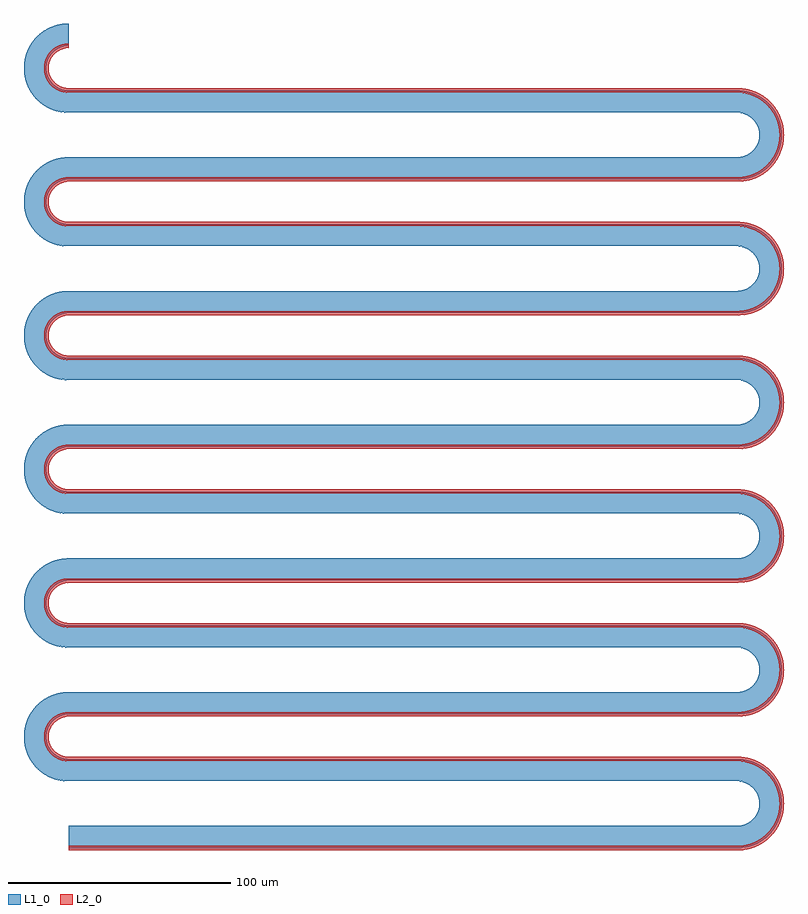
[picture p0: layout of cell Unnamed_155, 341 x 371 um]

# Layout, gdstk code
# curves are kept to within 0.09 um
import gdstk
lib = gdstk.Library(unit=1e-6, precision=1e-09)
def P(c, l, *ps):  # polygons
    for p in ps: c.add(gdstk.Polygon(p, *l))
L1_0 = (1, 0)
L2_0 = (2, 0)

unnamed_155 = lib.new_cell('Unnamed_155')
P(unnamed_155, L1_0, [(0,-5),(0,5),(300.754,5.028),(302.672,5.363),(304.572,6.106),(306.184,7.141),(307.569,8.464),(308.692,10.055),(309.505,11.892),(309.931,13.823),(309.973,15.738),(309.641,17.656),(309.013,19.333),(308.059,20.921),(306.851,22.285),(305.39,23.423),(303.714,24.285),(301.937,24.811),(300.22,24.998),(-0.126,25),(-3.007,25.227),(-6.485,26.08),(-9.534,27.418),(-12.368,29.282),(-14.804,31.552),(-16.864,34.247),(-18.463,37.31),(-19.497,40.541),(-19.97,43.9),(-19.876,47.228),(-19.178,50.676),(-17.915,53.892),(-16.08,56.893),(-13.884,59.396),(-11.252,61.535),(-8.238,63.225),(-5.04,64.355),(-2.634,64.826),(-0.126,65),(300.409,65.008),(302.428,65.299),(304.347,65.994),(306.06,67.045),(307.569,68.464),(308.738,70.137),(309.534,71.982),(309.945,73.948),(309.945,76.052),(309.607,77.778),(308.971,79.418),(308.059,80.921),(306.851,82.285),(305.469,83.372),(303.917,84.201),(302.184,84.759),(300.409,84.992),(-0.126,85),(-2.634,85.174),(-5.04,85.645),(-7.37,86.407),(-9.666,87.491),(315.62,87.491),(316.83,85.806),(317.859,84.004),(318.673,82.164),(319.331,80.131),(319.787,77.914),(319.985,75.786),(319.95,73.586),(319.718,71.651),(319.248,69.566),(318.511,67.426),(317.597,65.494),(316.482,63.671),(315.096,61.881),(313.564,60.302),(311.817,58.864),(310.082,57.727),(308.238,56.775),(306.246,56),(304.183,55.442),(302.009,55.101),(300.126,55),(-0.22,54.998),(-1.907,54.817),(-3.597,54.331),(-5.122,53.589),(-6.524,52.579),(-7.691,51.392),(-8.692,49.945),(-9.424,48.346),(-9.859,46.675),(-9.99,44.544),(-9.681,42.495),(-8.901,40.442),(-7.751,38.681),(-6.307,37.239),(-4.572,36.106),(-2.672,35.363),(-0.409,35.008),(300.126,35),(303.318,34.723),(306.485,33.92),(309.589,32.552),(312.417,30.679),(314.972,28.261),(316.998,25.54),(318.511,22.574),(319.538,19.275),(319.985,15.786),(319.822,12.335),(319.105,9.083),(317.859,5.996),(316.08,3.107),(313.884,0.604),(311.252,-1.535),(308.295,-3.199),(305.161,-4.323),(302.634,-4.826),(300.126,-5)],
  [(-9.666,87.491),(-12.368,89.282),(-14.634,91.367),(-16.553,93.774),(-18.133,96.562),(-19.248,99.566),(-19.854,102.584),(-19.993,105.535),(-19.663,108.659),(-18.889,111.574),(-17.597,114.506),(-16.005,116.994),(-13.884,119.396),(-11.562,121.32),(-8.807,122.957),(-5.947,124.096),(-3.007,124.773),(-0.126,125),(300.409,125.008),(302.367,125.284),(304.205,125.927),(305.806,126.858),(307.317,128.183),(308.499,129.73),(309.348,131.447),(309.859,133.325),(309.995,135.33),(309.776,137.107),(309.17,138.99),(308.259,140.639),(307.077,142.066),(305.574,143.303),(303.917,144.201),(302.184,144.759),(300.252,144.997),(-0.126,145),(-2.759,145.191),(-5.525,145.778),(-8.238,146.775),(-10.779,148.153),(-13,149.801),(-14.972,151.739),(-16.727,154.036),(-18.133,156.562),(-19.142,159.204),(-19.768,161.961),(-19.999,164.78),(-19.822,167.665),(-19.248,170.434),(-18.289,173.094),(-16.998,175.54),(-15.301,177.88),(-13.237,179.993),(313.221,179.993),(310.352,177.887),(307.252,176.361),(303.937,175.391),(300.314,175.002),(-0.094,175),(-2.276,174.738),(-4.033,174.151),(-5.521,173.338),(-6.851,172.285),(-8.059,170.921),(-9.013,169.333),(-9.607,167.778),(-9.945,166.052),(-9.973,164.262),(-9.697,162.556),(-9.08,160.809),(-8.223,159.309),(-7.077,157.934),(-5.704,156.786),(-4.205,155.927),(-2.459,155.307),(-0.754,155.028),(300.126,155),(302.634,154.826),(304.49,154.49),(306.485,153.92),(309.864,152.399),(311.562,151.32),(313.143,150.076),(315.737,147.343),(316.864,145.753),(317.859,144.004),(318.673,142.164),(319.248,140.434),(319.663,138.659),(319.931,136.665),(319.999,134.78),(319.876,132.772),(319.178,129.324),(317.915,126.108),(316.08,123.107),(313.884,120.604),(311.252,118.465),(308.238,116.775),(305.04,115.645),(301.759,115.077),(-0.409,114.992),(-2.367,114.716),(-4.205,114.073),(-5.806,113.142),(-7.317,111.817),(-8.499,110.27),(-9.348,108.553),(-9.859,106.675),(-9.996,104.701),(-9.776,102.893),(-9.195,101.068),(-8.364,99.518),(-7.209,98.069),(-5.781,96.84),(-4.205,95.927),(-2.428,95.299),(-0.534,95.014),(300.503,94.994),(302.634,94.826),(304.796,94.417),(306.84,93.794),(308.92,92.901),(310.885,91.779),(312.564,90.561),(314.242,89.042),(315.62,87.491)],
  [(-13.237,179.993),(-10.352,182.113),(-7.252,183.639),(-3.937,184.609),(-0.314,184.998),(300.094,185),(302.276,185.262),(304.033,185.849),(305.521,186.662),(306.851,187.715),(308.059,189.079),(309.013,190.667),(309.607,192.222),(309.945,193.948),(309.973,195.738),(309.697,197.444),(309.08,199.191),(308.223,200.691),(307.077,202.066),(305.704,203.214),(304.205,204.073),(302.459,204.693),(300.754,204.972),(-0.126,205),(-2.634,205.174),(-4.49,205.51),(-6.485,206.08),(-9.864,207.601),(-11.562,208.68),(-13.143,209.924),(-15.737,212.657),(-16.864,214.247),(-17.859,215.996),(-18.673,217.836),(-19.248,219.566),(-19.663,221.341),(-19.931,223.335),(-19.999,225.22),(-19.876,227.228),(-19.178,230.676),(-17.915,233.892),(-16.08,236.893),(-13.884,239.396),(-11.252,241.535),(-8.238,243.225),(-5.04,244.355),(-1.759,244.923),(300.409,245.008),(302.367,245.284),(304.205,245.927),(305.806,246.858),(307.317,248.183),(308.499,249.73),(309.348,251.447),(309.859,253.325),(309.996,255.299),(309.776,257.107),(309.195,258.932),(308.364,260.482),(307.209,261.931),(305.781,263.16),(304.205,264.073),(302.428,264.701),(300.534,264.986),(-0.503,265.006),(-2.634,265.174),(-4.796,265.583),(-6.84,266.206),(-8.92,267.099),(-10.885,268.221),(-12.564,269.439),(-14.242,270.958),(-15.605,272.491),(309.699,272.491),(311.562,271.32),(313.143,270.076),(314.634,268.633),(316.005,266.994),(317.129,265.325),(318.133,263.438),(318.889,261.574),(319.454,259.643),(319.822,257.665),(319.993,255.535),(319.941,253.461),(319.663,251.341),(319.178,249.324),(318.463,247.31),(317.476,245.274),(316.338,243.464),(314.972,241.739),(313.564,240.302),(311.817,238.864),(310.082,237.727),(308.238,236.775),(306.246,236),(304.183,235.442),(302.009,235.101),(300.126,235),(-0.22,234.998),(-1.937,234.811),(-3.714,234.285),(-5.39,233.423),(-6.851,232.285),(-8.059,230.921),(-9.013,229.333),(-9.641,227.656),(-9.973,225.738),(-9.931,223.823),(-9.475,221.802),(-8.676,220.027),(-7.507,218.393),(-6.06,217.045),(-4.347,215.994),(-2.428,215.299),(-0.409,215.008),(300.126,215),(302.759,214.809),(305.525,214.222),(308.238,213.225),(310.779,211.847),(313,210.199),(314.972,208.261),(316.727,205.964),(318.133,203.438),(319.142,200.796),(319.768,198.039),(319.999,195.22),(319.822,192.335),(319.248,189.566),(318.238,186.791),(316.864,184.247),(315.178,181.976),(313.221,179.993)],
  [(-15.605,272.491),(-17.129,274.675),(-18.364,277.078),(-19.265,279.626),(-19.796,282.148),(-19.999,284.78),(-19.854,287.416),(-19.363,290.009),(-18.511,292.574),(-17.321,295),(-15.853,297.194),(-14.242,299.042),(-12.219,300.834),(-10.027,302.305),(-7.603,303.499),(-5.04,304.355),(-2.447,304.85),(-0.126,305),(300.22,305.002),(301.937,305.189),(303.714,305.715),(305.23,306.476),(306.666,307.545),(307.888,308.853),(308.843,310.33),(309.534,311.982),(309.907,313.636),(309.973,315.738),(309.607,317.778),(308.843,319.67),(307.671,321.416),(306.184,322.859),(304.347,324.006),(302.428,324.701),(300.409,324.992),(-0.126,325),(-3.318,325.277),(-6.663,326.142),(-9.864,327.601),(-12.856,329.679),(-15.341,332.168),(-17.383,335.109),(-18.889,338.426),(-19.768,341.961),(-19.996,345.409),(-19.603,348.967),(-18.581,352.399),(-16.998,355.54),(-14.888,358.355),(-12.368,360.718),(-9.367,362.671),(-6.067,364.058),(-2.634,364.826),(0,365),(0,355),(-1.937,354.811),(-3.917,354.201),(-5.652,353.25),(-7.209,351.931),(-8.449,350.35),(-9.348,348.553),(-9.889,346.488),(-9.99,344.544),(-9.776,342.893),(-9.279,341.271),(-8.499,339.73),(-7.423,338.299),(-6.184,337.141),(-4.711,336.179),(-3.093,335.49),(-1.442,335.104),(-0.094,335),(301.006,334.975),(304.429,334.504),(307.661,333.475),(310.779,331.847),(313.564,329.698),(315.853,327.194),(317.715,324.284),(319.048,321.097),(319.822,317.665),(319.993,315.535),(319.95,313.586),(319.718,311.651),(319.265,309.626),(318.627,307.718),(317.802,305.884),(316.83,304.194),(315.62,302.509),(314.374,301.093),(312.856,299.679),(311.252,298.465),(309.534,297.418),(307.661,296.525),(305.826,295.867),(303.69,295.343),(301.759,295.077),(-0.22,294.998),(-1.907,294.817),(-3.568,294.342),(-5.041,293.637),(-6.38,292.701),(-7.569,291.536),(-8.581,290.136),(-9.314,288.641),(-9.776,287.107),(-10,284.921),(-9.748,282.77),(-9.013,280.667),(-7.888,278.853),(-6.38,277.299),(-4.572,276.106),(-2.672,275.363),(-0.409,275.008),(300.126,275),(302.634,274.826),(305.04,274.355),(307.37,273.593),(309.699,272.491)])
P(unnamed_155, L2_0, [(0,-6),(0,-4),(300.119,-4),(302.561,-3.827),(304.961,-3.341),(308.043,-2.214),(310.788,-0.641),(313.276,1.407),(315.417,3.895),(317.072,6.66),(318.236,9.665),(318.882,12.883),(318.968,16.105),(318.495,19.353),(317.47,22.471),(315.956,25.316),(314.064,27.776),(311.702,29.969),(309.057,31.703),(306.104,32.993),(302.975,33.766),(300.119,34),(-0.45,34.009),(-2.738,34.346),(-4.999,35.201),(-6.937,36.463),(-8.548,38.076),(-9.807,40.017),(-10.667,42.312),(-10.993,44.602),(-10.821,46.978),(-10.343,48.746),(-9.544,50.47),(-8.46,52.031),(-7.124,53.382),(-5.575,54.483),(-3.957,55.264),(-2.131,55.792),(-0.346,55.995),(300.119,56),(302.028,56.108),(303.974,56.42),(305.82,56.913),(307.608,57.59),(309.37,58.471),(311.081,59.566),(312.665,60.836),(314.064,62.224),(315.205,63.606),(316.66,65.864),(317.803,68.361),(318.574,70.997),(318.961,73.776),(318.934,76.582),(318.495,79.353),(317.608,82.14),(316.454,84.5),(318.728,84.5),(319.583,82.584),(320.263,80.515),(320.736,78.321),(320.972,76.089),(320.961,73.713),(320.681,71.353),(320.174,69.167),(319.486,67.17),(318.508,65.077),(317.306,63.104),(315.808,61.175),(314.291,59.612),(312.567,58.175),(310.7,56.93),(308.71,55.891),(306.558,55.05),(304.392,54.464),(302.11,54.106),(300.132,54),(-0.283,53.996),(-1.827,53.813),(-3.237,53.398),(-4.61,52.73),(-5.893,51.803),(-6.976,50.687),(-7.85,49.402),(-8.491,47.985),(-8.878,46.479),(-8.991,44.59),(-8.677,42.609),(-7.972,40.822),(-6.94,39.269),(-5.61,37.962),(-3.989,36.932),(-2.186,36.269),(-0.283,36.004),(300.132,36),(303.354,35.731),(306.809,34.866),(310.01,33.461),(313.09,31.421),(315.677,28.973),(317.813,26.123),(319.386,23.074),(320.457,19.746),(320.972,16.089),(320.862,12.595),(320.137,9.04),(318.869,5.782),(317.04,2.726),(314.767,0.069),(312.032,-2.212),(308.95,-3.997),(305.483,-5.272),(302.7,-5.826),(300.132,-6)],
  [(316.454,84.5),(315.169,86.442),(313.53,88.34),(311.702,89.969),(309.783,91.288),(307.498,92.458),(305.249,93.261),(302.975,93.766),(300.597,93.991),(-0.104,94),(-2.738,94.346),(-4.531,94.976),(-6.16,95.886),(-7.636,97.082),(-8.926,98.571),(-9.884,100.172),(-10.577,101.978),(-10.932,103.775),(-10.977,105.709),(-10.667,107.688),(-10.087,109.389),(-9.238,110.972),(-8.072,112.473),(-6.693,113.73),(-4.999,114.799),(-3.271,115.503),(-1.483,115.9),(-0.104,116),(301.254,116.041),(303.093,116.253),(304.961,116.659),(306.778,117.25),(308.581,118.048),(310.341,119.06),(311.796,120.105),(313.276,121.407),(314.536,122.764),(315.658,124.237),(316.66,125.864),(317.47,127.529),(318.15,129.379),(318.646,131.348),(318.913,133.18),(319,135.09),(318.895,136.998),(318.269,140.22),(317.15,143.178),(315.521,145.959),(313.361,148.509),(310.837,150.607),(308.043,152.214),(304.961,153.341),(301.79,153.916),(-0.519,154.012),(-2.972,154.409),(-5.183,155.297),(-7.124,156.618),(-8.844,158.459),(-10.087,160.611),(-10.802,162.92),(-10.998,165.225),(-10.667,167.688),(-9.807,169.983),(-8.46,172.031),(-6.693,173.73),(-4.594,174.995),(306.388,174.995),(303.354,174.269),(300.132,174),(-0.085,174),(-1.993,173.777),(-3.552,173.27),(-4.922,172.535),(-6.125,171.595),(-7.253,170.329),(-8.062,169.001),(-8.654,167.473),(-8.959,165.862),(-8.969,164.251),(-8.699,162.691),(-8.148,161.177),(-7.385,159.855),(-6.309,158.581),(-5.04,157.543),(-3.63,156.764),(-2.103,156.249),(-0.509,156.014),(300.132,156),(302.7,155.826),(304.65,155.479),(306.684,154.908),(308.469,154.217),(310.357,153.269),(312.032,152.212),(313.65,150.959),(315.138,149.555),(316.442,148.064),(317.671,146.346),(318.692,144.572),(319.535,142.707),(320.174,140.833),(320.646,138.842),(320.922,136.814),(320.999,134.769),(320.884,132.792),(320.174,129.167),(318.898,125.842),(317.117,122.833),(314.767,120.069),(312.032,117.788),(308.71,115.891),(305.355,114.694),(301.847,114.081),(-0.283,113.996),(-2.103,113.751),(-3.836,113.142),(-5.454,112.16),(-6.775,110.925),(-7.85,109.402),(-8.589,107.689),(-8.959,105.862),(-8.941,103.969),(-8.614,102.392),(-8.024,100.923),(-7.185,99.58),(-6.125,98.405),(-4.851,97.419),(-3.474,96.697),(-1.938,96.211),(-0.283,96.004),(301.254,95.963),(304.392,95.536),(307.43,94.642),(310.242,93.333),(312.725,91.706),(314.483,90.207),(316.066,88.524),(317.491,86.622),(318.692,84.572)],
  [(-4.594,174.995),(-2.402,175.735),(-0.104,176),(300.119,176),(302.502,176.165),(304.788,176.613),(307.881,177.711),(310.64,179.258),(313.017,181.159),(315.205,183.606),(316.939,186.393),(318.15,189.379),(318.831,192.468),(318.983,195.806),(318.574,199.003),(317.608,202.14),(316.148,205.013),(314.144,207.687),(311.796,209.895),(309.057,211.703),(306.104,212.993),(302.975,213.766),(300.119,214),(-0.45,214.009),(-2.738,214.346),(-4.999,215.201),(-6.937,216.463),(-8.548,218.076),(-9.807,220.017),(-10.667,222.312),(-10.993,224.602),(-10.821,226.978),(-10.343,228.746),(-9.544,230.47),(-8.46,232.031),(-7.124,233.382),(-5.575,234.483),(-3.957,235.264),(-2.131,235.792),(-0.346,235.995),(301.79,236.084),(304.149,236.458),(306.442,237.125),(308.687,238.102),(310.837,239.393),(312.798,240.956),(314.536,242.764),(315.956,244.684),(317.15,246.822),(318.059,249.095),(318.646,251.348),(318.961,253.776),(318.957,256.284),(318.646,258.652),(317.964,261.189),(317.046,263.393),(315.835,265.5),(318.187,265.5),(319.486,262.83),(320.331,260.26),(320.795,257.929),(320.989,255.693),(320.943,253.449),(320.658,251.223),(320.137,249.04),(319.386,246.926),(318.445,244.961),(317.231,242.995),(315.808,241.175),(314.291,239.612),(312.567,238.175),(310.7,236.93),(308.71,235.891),(306.558,235.05),(304.392,234.464),(302.11,234.106),(300.132,234),(-0.283,233.996),(-1.827,233.813),(-3.237,233.398),(-4.61,232.73),(-5.893,231.803),(-6.976,230.687),(-7.85,229.402),(-8.491,227.985),(-8.878,226.479),(-8.991,224.59),(-8.677,222.609),(-7.972,220.822),(-6.94,219.269),(-5.61,217.962),(-3.989,216.932),(-2.186,216.269),(-0.283,216.004),(300.132,216),(303.354,215.731),(306.809,214.866),(310.01,213.461),(312.882,211.585),(315.5,209.169),(317.671,206.346),(319.283,203.318),(320.411,199.939),(320.943,196.551),(320.91,193.055),(320.263,189.485),(319.095,186.26),(317.38,183.213),(315.184,180.493),(312.567,178.175),(309.543,176.293),(306.388,174.995)],
  [(315.835,265.5),(314.536,267.236),(312.886,268.963),(311.081,270.434),(309.162,271.645),(307.112,272.619),(304.961,273.341),(302.739,273.802),(300.597,273.991),(-0.104,274),(-2.671,274.329),(-4.531,274.976),(-6.16,275.886),(-7.611,277.058),(-8.844,278.459),(-9.807,280.017),(-10.508,281.746),(-10.911,283.603),(-10.989,285.501),(-10.731,287.419),(-10.168,289.198),(-9.294,290.885),(-8.119,292.422),(-6.693,293.73),(-5.183,294.703),(-3.402,295.461),(-1.483,295.9),(-0.104,296),(301.254,296.041),(303.093,296.253),(304.961,296.659),(306.778,297.25),(308.581,298.048),(310.341,299.06),(311.796,300.105),(313.276,301.407),(314.536,302.764),(315.658,304.237),(316.66,305.864),(317.47,307.529),(318.15,309.379),(318.646,311.348),(318.913,313.18),(319,315.09),(318.895,316.998),(318.269,320.22),(317.15,323.178),(315.521,325.959),(313.361,328.509),(310.837,330.607),(308.043,332.214),(304.961,333.341),(301.79,333.916),(-0.519,334.012),(-2.972,334.409),(-5.183,335.297),(-7.124,336.618),(-8.844,338.459),(-10.087,340.611),(-10.802,342.92),(-10.998,345.225),(-10.667,347.688),(-10.045,349.484),(-9.143,351.117),(-8.001,352.549),(-6.693,353.73),(-5.183,354.703),(-3.567,355.406),(-1.825,355.848),(0,356),(0,354),(-1.993,353.777),(-3.836,353.142),(-5.521,352.108),(-6.94,350.731),(-7.766,349.549),(-8.443,348.118),(-8.838,346.702),(-8.999,345.156),(-8.878,343.521),(-8.393,341.75),(-7.589,340.161),(-6.566,338.844),(-5.295,337.722),(-3.759,336.822),(-2.103,336.249),(-0.34,336.006),(301.847,335.919),(305.355,335.306),(308.71,334.109),(311.814,332.362),(314.626,330.069),(316.962,327.381),(318.811,324.336),(320.137,320.96),(320.862,317.405),(320.996,315.429),(320.933,313.318),(320.658,311.223),(320.21,309.294),(319.559,307.354),(318.722,305.487),(317.707,303.71),(316.524,302.04),(315.184,300.493),(313.75,299.127),(312.14,297.864),(310.357,296.731),(308.469,295.783),(306.684,295.092),(304.65,294.521),(302.7,294.174),(300.132,294),(-0.509,293.986),(-2.103,293.751),(-3.63,293.236),(-5.04,292.457),(-6.248,291.478),(-7.303,290.26),(-8.124,288.874),(-8.677,287.391),(-8.959,285.862),(-8.969,284.251),(-8.699,282.691),(-8.148,281.177),(-7.385,279.855),(-6.309,278.581),(-5.087,277.575),(-3.759,276.822),(-2.186,276.269),(-0.085,276),(300.66,275.99),(303.614,275.687),(306.558,274.95),(309.484,273.737),(312.032,272.212),(313.75,270.873),(315.5,269.169),(316.962,267.381),(318.187,265.5)],
  [(0,-6),(0,-4),(300.119,-4),(302.561,-3.827),(304.961,-3.341),(308.043,-2.214),(310.788,-0.641),(313.276,1.407),(315.417,3.895),(317.072,6.66),(318.236,9.665),(318.882,12.883),(318.968,16.105),(318.495,19.353),(317.47,22.471),(315.956,25.316),(314.064,27.776),(311.702,29.969),(309.057,31.703),(306.104,32.993),(302.975,33.766),(300.119,34),(-0.45,34.009),(-2.738,34.346),(-4.999,35.201),(-6.937,36.463),(-8.548,38.076),(-9.807,40.017),(-10.667,42.312),(-10.993,44.602),(-10.821,46.978),(-10.343,48.746),(-9.544,50.47),(-8.46,52.031),(-7.124,53.382),(-5.575,54.483),(-3.957,55.264),(-2.131,55.792),(-0.346,55.995),(300.119,56),(302.028,56.108),(303.974,56.42),(305.82,56.913),(307.608,57.59),(309.37,58.471),(311.081,59.566),(312.665,60.836),(314.064,62.224),(315.205,63.606),(316.66,65.864),(317.803,68.361),(318.574,70.997),(318.961,73.776),(318.934,76.582),(318.495,79.353),(317.608,82.14),(316.454,84.5),(318.728,84.5),(319.583,82.584),(320.263,80.515),(320.736,78.321),(320.972,76.089),(320.961,73.713),(320.681,71.353),(320.174,69.167),(319.486,67.17),(318.508,65.077),(317.306,63.104),(315.808,61.175),(314.291,59.612),(312.567,58.175),(310.7,56.93),(308.71,55.891),(306.558,55.05),(304.392,54.464),(302.11,54.106),(300.132,54),(-0.283,53.996),(-1.827,53.813),(-3.237,53.398),(-4.61,52.73),(-5.893,51.803),(-6.976,50.687),(-7.85,49.402),(-8.491,47.985),(-8.878,46.479),(-8.991,44.59),(-8.677,42.609),(-7.972,40.822),(-6.94,39.269),(-5.61,37.962),(-3.989,36.932),(-2.186,36.269),(-0.283,36.004),(300.132,36),(303.354,35.731),(306.809,34.866),(310.01,33.461),(313.09,31.421),(315.677,28.973),(317.813,26.123),(319.386,23.074),(320.457,19.746),(320.972,16.089),(320.862,12.595),(320.137,9.04),(318.869,5.782),(317.04,2.726),(314.767,0.069),(312.032,-2.212),(308.95,-3.997),(305.483,-5.272),(302.7,-5.826),(300.132,-6)],
  [(316.454,84.5),(315.169,86.442),(313.53,88.34),(311.702,89.969),(309.783,91.288),(307.498,92.458),(305.249,93.261),(302.975,93.766),(300.597,93.991),(-0.104,94),(-2.738,94.346),(-4.531,94.976),(-6.16,95.886),(-7.636,97.082),(-8.926,98.571),(-9.884,100.172),(-10.577,101.978),(-10.932,103.775),(-10.977,105.709),(-10.667,107.688),(-10.087,109.389),(-9.238,110.972),(-8.072,112.473),(-6.693,113.73),(-4.999,114.799),(-3.271,115.503),(-1.483,115.9),(-0.104,116),(301.254,116.041),(303.093,116.253),(304.961,116.659),(306.778,117.25),(308.581,118.048),(310.341,119.06),(311.796,120.105),(313.276,121.407),(314.536,122.764),(315.658,124.237),(316.66,125.864),(317.47,127.529),(318.15,129.379),(318.646,131.348),(318.913,133.18),(319,135.09),(318.895,136.998),(318.269,140.22),(317.15,143.178),(315.521,145.959),(313.361,148.509),(310.837,150.607),(308.043,152.214),(304.961,153.341),(301.79,153.916),(-0.519,154.012),(-2.972,154.409),(-5.183,155.297),(-7.124,156.618),(-8.844,158.459),(-10.087,160.611),(-10.802,162.92),(-10.998,165.225),(-10.667,167.688),(-9.807,169.983),(-8.46,172.031),(-6.693,173.73),(-4.594,174.995),(306.388,174.995),(303.354,174.269),(300.132,174),(-0.085,174),(-1.993,173.777),(-3.552,173.27),(-4.922,172.535),(-6.125,171.595),(-7.253,170.329),(-8.062,169.001),(-8.654,167.473),(-8.959,165.862),(-8.969,164.251),(-8.699,162.691),(-8.148,161.177),(-7.385,159.855),(-6.309,158.581),(-5.04,157.543),(-3.63,156.764),(-2.103,156.249),(-0.509,156.014),(300.132,156),(302.7,155.826),(304.65,155.479),(306.684,154.908),(308.469,154.217),(310.357,153.269),(312.032,152.212),(313.65,150.959),(315.138,149.555),(316.442,148.064),(317.671,146.346),(318.692,144.572),(319.535,142.707),(320.174,140.833),(320.646,138.842),(320.922,136.814),(320.999,134.769),(320.884,132.792),(320.174,129.167),(318.898,125.842),(317.117,122.833),(314.767,120.069),(312.032,117.788),(308.71,115.891),(305.355,114.694),(301.847,114.081),(-0.283,113.996),(-2.103,113.751),(-3.836,113.142),(-5.454,112.16),(-6.775,110.925),(-7.85,109.402),(-8.589,107.689),(-8.959,105.862),(-8.941,103.969),(-8.614,102.392),(-8.024,100.923),(-7.185,99.58),(-6.125,98.405),(-4.851,97.419),(-3.474,96.697),(-1.938,96.211),(-0.283,96.004),(301.254,95.963),(304.392,95.536),(307.43,94.642),(310.242,93.333),(312.725,91.706),(314.483,90.207),(316.066,88.524),(317.491,86.622),(318.692,84.572)],
  [(-4.594,174.995),(-2.402,175.735),(-0.104,176),(300.119,176),(302.502,176.165),(304.788,176.613),(307.881,177.711),(310.64,179.258),(313.017,181.159),(315.205,183.606),(316.939,186.393),(318.15,189.379),(318.831,192.468),(318.983,195.806),(318.574,199.003),(317.608,202.14),(316.148,205.013),(314.144,207.687),(311.796,209.895),(309.057,211.703),(306.104,212.993),(302.975,213.766),(300.119,214),(-0.45,214.009),(-2.738,214.346),(-4.999,215.201),(-6.937,216.463),(-8.548,218.076),(-9.807,220.017),(-10.667,222.312),(-10.993,224.602),(-10.821,226.978),(-10.343,228.746),(-9.544,230.47),(-8.46,232.031),(-7.124,233.382),(-5.575,234.483),(-3.957,235.264),(-2.131,235.792),(-0.346,235.995),(301.79,236.084),(304.149,236.458),(306.442,237.125),(308.687,238.102),(310.837,239.393),(312.798,240.956),(314.536,242.764),(315.956,244.684),(317.15,246.822),(318.059,249.095),(318.646,251.348),(318.961,253.776),(318.957,256.284),(318.646,258.652),(317.964,261.189),(317.046,263.393),(315.835,265.5),(318.187,265.5),(319.486,262.83),(320.331,260.26),(320.795,257.929),(320.989,255.693),(320.943,253.449),(320.658,251.223),(320.137,249.04),(319.386,246.926),(318.445,244.961),(317.231,242.995),(315.808,241.175),(314.291,239.612),(312.567,238.175),(310.7,236.93),(308.71,235.891),(306.558,235.05),(304.392,234.464),(302.11,234.106),(300.132,234),(-0.283,233.996),(-1.827,233.813),(-3.237,233.398),(-4.61,232.73),(-5.893,231.803),(-6.976,230.687),(-7.85,229.402),(-8.491,227.985),(-8.878,226.479),(-8.991,224.59),(-8.677,222.609),(-7.972,220.822),(-6.94,219.269),(-5.61,217.962),(-3.989,216.932),(-2.186,216.269),(-0.283,216.004),(300.132,216),(303.354,215.731),(306.809,214.866),(310.01,213.461),(312.882,211.585),(315.5,209.169),(317.671,206.346),(319.283,203.318),(320.411,199.939),(320.943,196.551),(320.91,193.055),(320.263,189.485),(319.095,186.26),(317.38,183.213),(315.184,180.493),(312.567,178.175),(309.543,176.293),(306.388,174.995)],
  [(315.835,265.5),(314.536,267.236),(312.886,268.963),(311.081,270.434),(309.162,271.645),(307.112,272.619),(304.961,273.341),(302.739,273.802),(300.597,273.991),(-0.104,274),(-2.671,274.329),(-4.531,274.976),(-6.16,275.886),(-7.611,277.058),(-8.844,278.459),(-9.807,280.017),(-10.508,281.746),(-10.911,283.603),(-10.989,285.501),(-10.731,287.419),(-10.168,289.198),(-9.294,290.885),(-8.119,292.422),(-6.693,293.73),(-5.183,294.703),(-3.402,295.461),(-1.483,295.9),(-0.104,296),(301.254,296.041),(303.093,296.253),(304.961,296.659),(306.778,297.25),(308.581,298.048),(310.341,299.06),(311.796,300.105),(313.276,301.407),(314.536,302.764),(315.658,304.237),(316.66,305.864),(317.47,307.529),(318.15,309.379),(318.646,311.348),(318.913,313.18),(319,315.09),(318.895,316.998),(318.269,320.22),(317.15,323.178),(315.521,325.959),(313.361,328.509),(310.837,330.607),(308.043,332.214),(304.961,333.341),(301.79,333.916),(-0.519,334.012),(-2.972,334.409),(-5.183,335.297),(-7.124,336.618),(-8.844,338.459),(-10.087,340.611),(-10.802,342.92),(-10.998,345.225),(-10.667,347.688),(-10.045,349.484),(-9.143,351.117),(-8.001,352.549),(-6.693,353.73),(-5.183,354.703),(-3.567,355.406),(-1.825,355.848),(0,356),(0,354),(-1.993,353.777),(-3.836,353.142),(-5.521,352.108),(-6.94,350.731),(-7.766,349.549),(-8.443,348.118),(-8.838,346.702),(-8.999,345.156),(-8.878,343.521),(-8.393,341.75),(-7.589,340.161),(-6.566,338.844),(-5.295,337.722),(-3.759,336.822),(-2.103,336.249),(-0.34,336.006),(301.847,335.919),(305.355,335.306),(308.71,334.109),(311.814,332.362),(314.626,330.069),(316.962,327.381),(318.811,324.336),(320.137,320.96),(320.862,317.405),(320.996,315.429),(320.933,313.318),(320.658,311.223),(320.21,309.294),(319.559,307.354),(318.722,305.487),(317.707,303.71),(316.524,302.04),(315.184,300.493),(313.75,299.127),(312.14,297.864),(310.357,296.731),(308.469,295.783),(306.684,295.092),(304.65,294.521),(302.7,294.174),(300.132,294),(-0.509,293.986),(-2.103,293.751),(-3.63,293.236),(-5.04,292.457),(-6.248,291.478),(-7.303,290.26),(-8.124,288.874),(-8.677,287.391),(-8.959,285.862),(-8.969,284.251),(-8.699,282.691),(-8.148,281.177),(-7.385,279.855),(-6.309,278.581),(-5.087,277.575),(-3.759,276.822),(-2.186,276.269),(-0.085,276),(300.66,275.99),(303.614,275.687),(306.558,274.95),(309.484,273.737),(312.032,272.212),(313.75,270.873),(315.5,269.169),(316.962,267.381),(318.187,265.5)])

lib.write_gds('Unnamed_155.gds')
